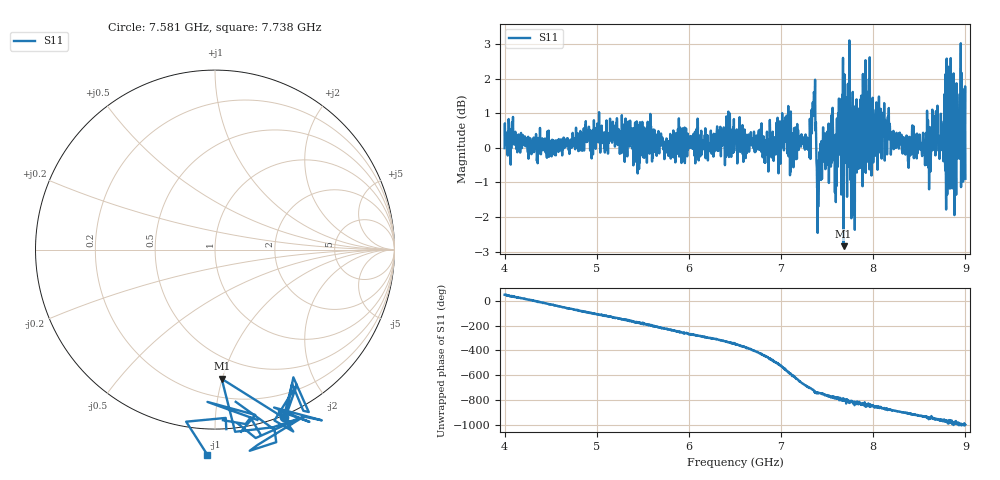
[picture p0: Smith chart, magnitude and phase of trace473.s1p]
! Created with skrf 1.8.0 (http://scikit-rf.org).
# Hz S RI R 50.0
!freq ReS11 ImS11
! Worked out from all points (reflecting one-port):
!   1601 points, 4 GHz to 9 GHz, reference 50 ohm
!   lowest |S11| = -2.8 dB at 7.678 GHz (marker M1), VSWR 6.16, Z = 16.6 - j49.8 ohm
!   phase of S11 starts at 50 deg and turns -1049 deg over the sweep
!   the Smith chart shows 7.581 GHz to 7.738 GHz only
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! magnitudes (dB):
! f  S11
! 4 GHz  0.0
! 4.625 GHz  -0.2
! 5.25 GHz  -0.2
! 5.875 GHz  0.2
! 6.5 GHz  0.3
! 6.844 GHz  0.1
! 7.038 GHz  0.4
! 7.125 GHz  0.1
! 7.294 GHz  -0.1
! 7.353 GHz  1.1
! 7.409 GHz  -1.0
! 7.478 GHz  -0.1
! 7.591 GHz  0.4
! 7.647 GHz  1.0
! 7.678 GHz  -2.8
! 7.75 GHz  -0.5
! 7.775 GHz  1.0
! 7.8 GHz  -2.4
! 7.938 GHz  1.1
! 7.997 GHz  0.9
! 8.106 GHz  0.3
! 8.375 GHz  -0.1
! 8.584 GHz  1.1
! 8.666 GHz  0.3
! 8.766 GHz  0.8
! 8.953 GHz  -1.1
! 8.972 GHz  0.8
! 9 GHz  -0.9
